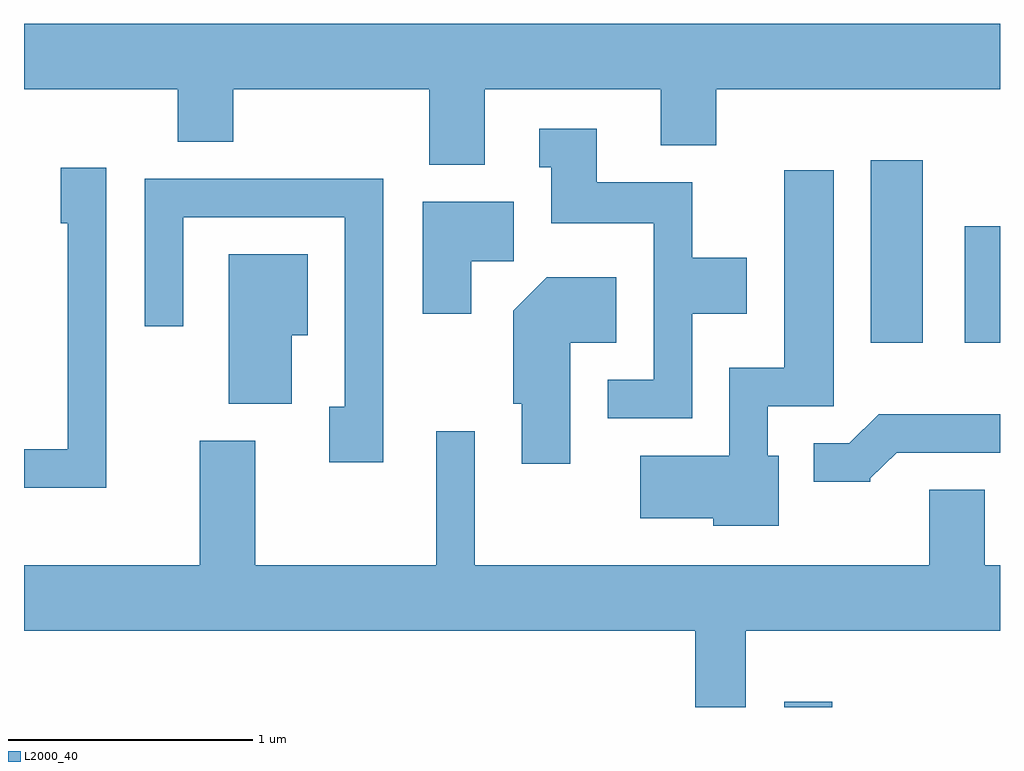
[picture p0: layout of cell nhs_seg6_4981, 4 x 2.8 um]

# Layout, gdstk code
import gdstk
lib = gdstk.Library(unit=1e-6, precision=1e-09)
def R(c, l, rs):  # rectangles x0, y0, x1, y1
    for r in rs: c.add(gdstk.rectangle(r[:2], r[2:], *l))
def P(c, l, *ps):  # polygons
    for p in ps: c.add(gdstk.Polygon(p, *l))
L2000_40 = (2000, 40)

nhs_seg6_4981 = lib.new_cell('nhs_seg6_4981')
R(nhs_seg6_4981, L2000_40, [(340.726,1554.162,340.924,1554.184), (341.081,1555.656,341.294,1556.404), (341.466,1555.656,341.611,1556.134)])
P(nhs_seg6_4981, L2000_40, [(337.611,1556.696),(338.241,1556.696),(338.241,1556.481),(338.469,1556.481),(338.469,1556.696),(339.271,1556.696),(339.271,1556.386),(339.499,1556.386),(339.499,1556.696),(340.221,1556.696),(340.221,1556.466),(340.449,1556.466),(340.449,1556.696),(341.611,1556.696),(341.611,1556.964),(337.611,1556.964)],
  [(340.349,1555.776),(340.574,1555.776),(340.574,1556.004),(340.349,1556.004),(340.349,1556.314),(339.959,1556.314),(339.959,1556.534),(339.723,1556.534),(339.723,1556.376),(339.771,1556.376),(339.771,1556.146),(340.191,1556.146),(340.191,1555.504),(340.003,1555.504),(340.003,1555.346),(340.349,1555.346)],
  [(337.949,1556.374),(337.761,1556.374),(337.761,1556.146),(337.791,1556.146),(337.791,1555.219),(337.611,1555.219),(337.611,1555.061),(337.949,1555.061)],
  [(340.704,1555.194),(340.659,1555.194),(340.659,1555.396),(340.929,1555.396),(340.929,1556.364),(340.726,1556.364),(340.726,1555.554),(340.501,1555.554),(340.501,1555.194),(340.136,1555.194),(340.136,1554.936),(340.436,1554.936),(340.436,1554.906),(340.704,1554.906)],
  [(339.084,1556.329),(338.106,1556.329),(338.106,1555.723),(338.264,1555.723),(338.264,1556.171),(338.926,1556.171),(338.926,1555.394),(338.861,1555.394),(338.861,1555.166),(339.084,1555.166)],
  [(339.444,1555.991),(339.619,1555.991),(339.619,1556.234),(339.246,1556.234),(339.246,1555.776),(339.444,1555.776)],
  [(338.709,1555.686),(338.774,1555.686),(338.774,1556.019),(338.451,1556.019),(338.451,1555.406),(338.709,1555.406)],
  [(339.849,1555.656),(340.039,1555.656),(340.039,1555.924),(339.754,1555.924),(339.616,1555.787),(339.616,1555.406),(339.651,1555.406),(339.651,1555.161),(339.849,1555.161)],
  [(341.08,1555.1),(341.187,1555.206),(341.611,1555.206),(341.611,1555.364),(341.114,1555.364),(340.994,1555.244),(340.848,1555.244),(340.848,1555.086),(341.08,1555.086)],
  [(340.569,1554.476),(341.611,1554.476),(341.611,1554.744),(341.549,1554.744),(341.549,1555.054),(341.321,1555.054),(341.321,1554.744),(339.459,1554.744),(339.459,1555.293),(339.301,1555.293),(339.301,1554.744),(338.559,1554.744),(338.559,1555.254),(338.331,1555.254),(338.331,1554.744),(337.611,1554.744),(337.611,1554.476),(340.361,1554.476),(340.361,1554.162),(340.569,1554.162)])

lib.write_gds('nhs_seg6_4981.gds')
